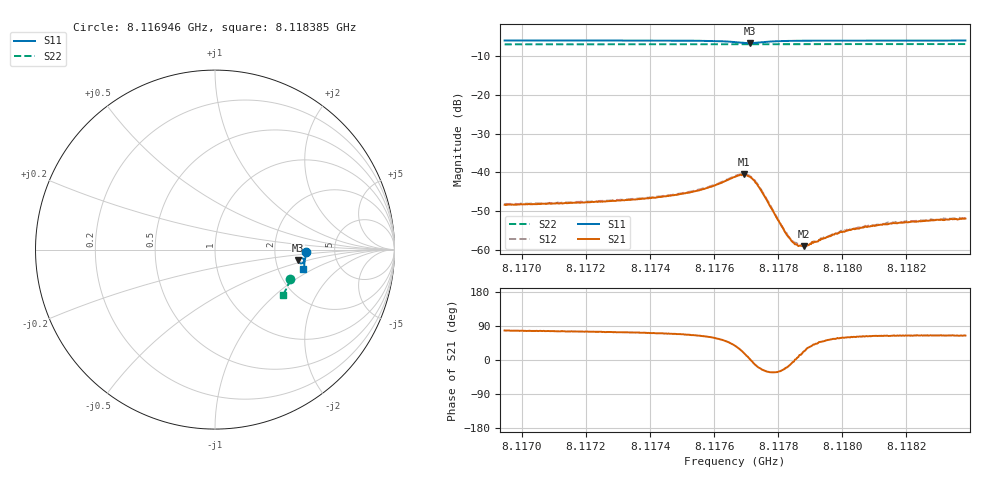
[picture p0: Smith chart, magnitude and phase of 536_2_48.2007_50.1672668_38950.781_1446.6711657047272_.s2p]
#  HZ  S  RI  R  50.00
! Rohde & Schwarz Vector Network Analyzer
! Rohde-Schwarz,ZNB20-2Port,1311601062101988,3.16
! Created: UTC 3/20/2024, 12:00:05 PM
! freq[Hz]  re:S11  im:S11  re:S21  im:S21  re:S12  im:S12  re:S22  im:S22
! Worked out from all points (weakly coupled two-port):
!   401 points, 8.116946 GHz to 8.118385 GHz, reference 50 ohm
!   highest |S21| = -40.51 dB at 8.117694 GHz (marker M1); lowest = -59.1 dB at 8.117881 GHz (marker M2)
!   lowest |S11| = -6.6 dB at 8.117712 GHz (marker M3), VSWR 2.76, Z = 135 - j20 ohm
!   |S11| at or under -10 dB: nowhere
!   |S22| runs from -6.9 to -6.8 dB; largest |S21 - S12| = 0.00033
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8.1169459e9  0.5065 -0.0114  0.000793 0.00372  0.000879 0.00377  0.42 -0.1649
8.117187e9  0.5052 -0.0308  0.00105 0.00393  0.00112 0.00398  0.4143 -0.1806
8.1173129e9  0.5039 -0.0412  0.00127 0.00416  0.00132 0.00418  0.4109 -0.1888
8.117428e9  0.5022 -0.0515  0.0016 0.0045  0.00165 0.00457  0.4079 -0.1963
8.1174963e9  0.5004 -0.0583  0.00196 0.00487  0.00204 0.00492  0.4058 -0.2007
8.1175611e9  0.4969 -0.0661  0.00268 0.00533  0.00272 0.00545  0.4038 -0.205
8.1176078e9  0.492 -0.0723  0.00377 0.00577  0.00388 0.00587  0.4021 -0.2079
8.1176654e9  0.4767 -0.0768  0.00692 0.00536  0.00714 0.00542  0.3998 -0.2116
8.1176942e9  0.4657 -0.0686  0.00898 0.00287  0.00905 0.00288  0.3984 -0.2128
8.1177122e9  0.4644 -0.0581  0.0087 0.000341  0.00894 0.000257  0.398 -0.2133
8.1177266e9  0.4685 -0.0507  0.00761 -0.00146  0.00774 -0.00148  0.3977 -0.2138
8.1177409e9  0.4751 -0.0468  0.00596 -0.00223  0.00608 -0.0023  0.3978 -0.2147
8.1178165e9  0.4952 -0.0559  0.00167 -0.000782  0.00167 -0.000837  0.3963 -0.2198
8.1178381e9  0.4968 -0.0595  0.00134 -0.000291  0.00137 -0.000305  0.3958 -0.2212
8.1178561e9  0.4976 -0.0624  0.00116 4.93e-05  0.00122 3.81e-05  0.3952 -0.2224
8.1178812e9  0.4984 -0.0658  0.00101 0.000438  0.00104 0.000452  0.3944 -0.2241
8.117892e9  0.4986 -0.0671  0.000962 0.000598  0.00101 0.000578  0.394 -0.2248
8.1179064e9  0.4986 -0.0689  0.000985 0.000774  0.00097 0.000766  0.3935 -0.2258
8.118e9  0.4984 -0.0789  0.000869 0.00144  0.00091 0.00146  0.3907 -0.2317
8.1180647e9  0.4978 -0.0849  0.000887 0.00171  0.000914 0.00174  0.3884 -0.2358
8.1181474e9  0.4968 -0.0921  0.000964 0.00193  0.000961 0.00193  0.3856 -0.2409
8.1183849e9  0.493 -0.1107  0.00109 0.00227  0.00109 0.00231  0.377 -0.2552
